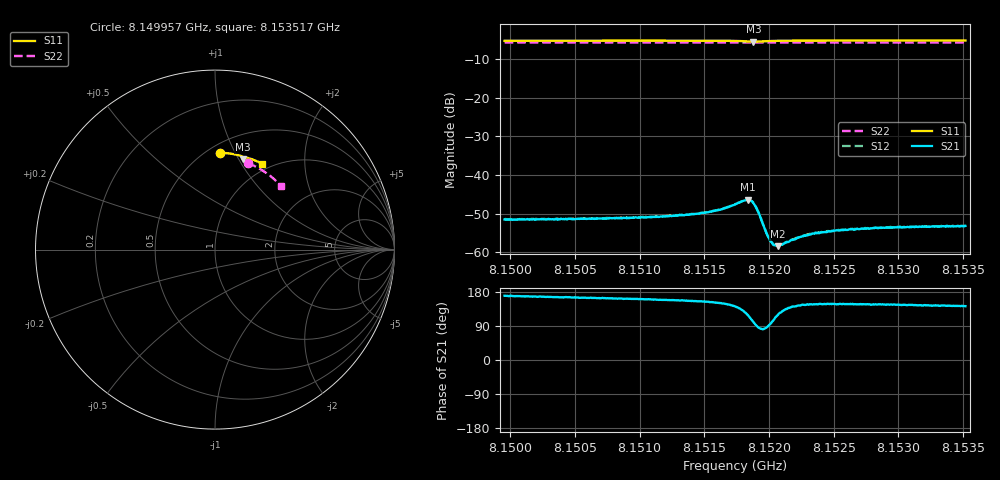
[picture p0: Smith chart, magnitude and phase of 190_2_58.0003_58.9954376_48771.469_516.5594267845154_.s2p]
#  HZ  S  RI  R  50.00
! Rohde & Schwarz Vector Network Analyzer
! Rohde-Schwarz,ZNB20-2Port,1311601062101988,3.16
! Created: UTC 3/21/2024, 12:58:48 AM
! freq[Hz]  re:S11  im:S11  re:S21  im:S21  re:S12  im:S12  re:S22  im:S22
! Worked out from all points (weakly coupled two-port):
!   401 points, 8.149957 GHz to 8.153517 GHz, reference 50 ohm
!   highest |S21| = -46.42 dB at 8.151835 GHz (marker M1); lowest = -58.4 dB at 8.152066 GHz (marker M2)
!   lowest |S11| = -5.6 dB at 8.15188 GHz (marker M3), VSWR 3.22, Z = 37.4 + j52 ohm
!   |S11| at or under -10 dB: nowhere
!   |S22| runs from -5.8 to -5.8 dB; largest |S21 - S12| = 0.00011
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8.1499573e9  0.028 0.5395  -0.00261 0.00049  -0.00263 0.000534  0.1837 0.4819
8.1505536e9  0.0698 0.5366  -0.00262 0.000726  -0.0026 0.000774  0.2191 0.4662
8.1511499e9  0.1116 0.5305  -0.00267 0.00105  -0.00272 0.0011  0.2529 0.4478
8.1513545e9  0.1263 0.5273  -0.00281 0.00122  -0.00279 0.00127  0.2641 0.441
8.1515147e9  0.1381 0.5241  -0.00294 0.00146  -0.00294 0.00151  0.2728 0.4356
8.1516304e9  0.1471 0.521  -0.00313 0.00179  -0.00311 0.00186  0.2791 0.4313
8.1517372e9  0.1558 0.5156  -0.00327 0.00259  -0.00323 0.00268  0.2847 0.4273
8.1518084e9  0.1597 0.5087  -0.00285 0.00369  -0.00283 0.00375  0.2882 0.4245
8.1518351e9  0.1594 0.5056  -0.00231 0.00418  -0.0023 0.00422  0.2897 0.4234
8.1518618e9  0.1572 0.5032  -0.00142 0.00438  -0.00137 0.00445  0.2906 0.4225
8.1518796e9  0.155 0.5029  -0.000755 0.00425  -0.00076 0.00432  0.2917 0.4217
8.1519152e9  0.1521 0.5055  0.000194 0.00338  0.000229 0.0034  0.2933 0.4206
8.1519953e9  0.1565 0.513  4.6e-06 0.00158  2.62e-05 0.00157  0.2976 0.418
8.1520309e9  0.1601 0.5141  -0.000298 0.00123  -0.000292 0.00126  0.2993 0.4168
8.1520487e9  0.1619 0.5144  -0.000473 0.00114  -0.000467 0.00116  0.3004 0.416
8.1520665e9  0.1636 0.5145  -0.000568 0.00106  -0.000563 0.00108  0.3014 0.4153
8.1521021e9  0.167 0.5144  -0.000786 0.000985  -0.000786 0.000996  0.3032 0.414
8.1522178e9  0.1765 0.5129  -0.00123 0.000923  -0.00122 0.000952  0.309 0.4094
8.1523335e9  0.1853 0.5106  -0.00146 0.000967  -0.00144 0.00098  0.3149 0.4048
8.1525204e9  0.1984 0.5063  -0.00162 0.00105  -0.00162 0.00108  0.3242 0.3973
8.1529297e9  0.2256 0.4957  -0.00173 0.00117  -0.00171 0.00118  0.3436 0.3797
8.1535171e9  0.2628 0.4782  -0.00173 0.00135  -0.00172 0.0014  0.3698 0.353
